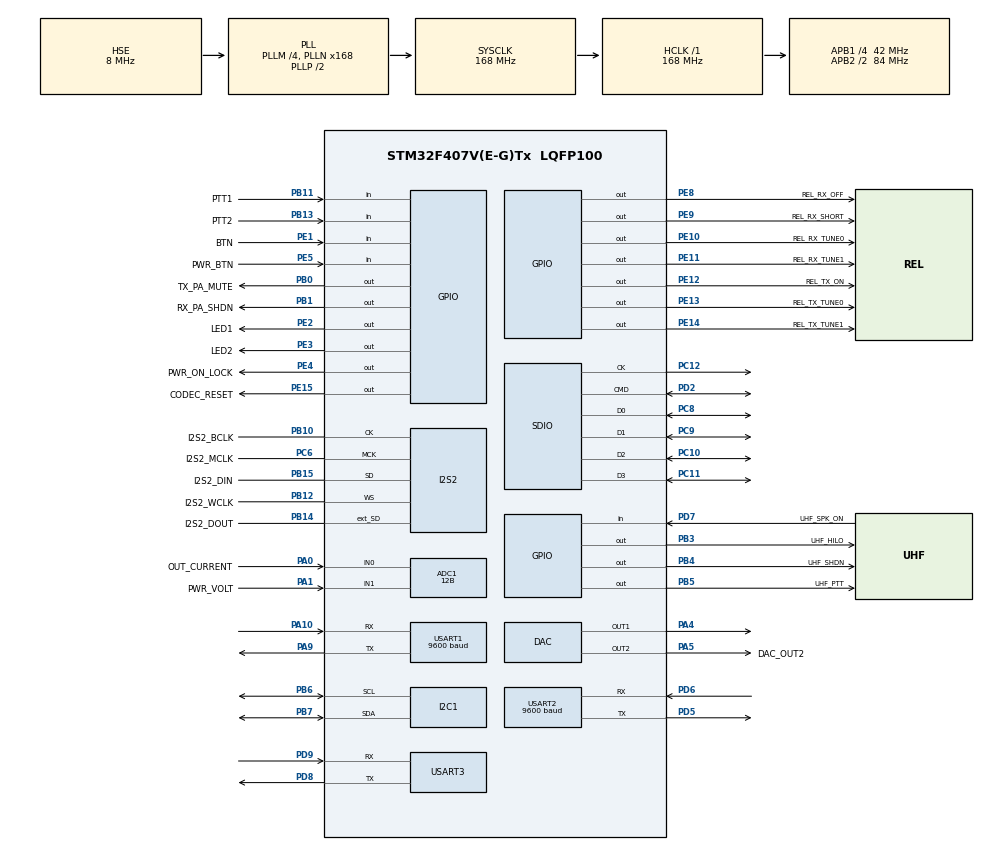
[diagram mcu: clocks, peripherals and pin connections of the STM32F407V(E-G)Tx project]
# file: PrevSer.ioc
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ADC1.Channel-0\#ChannelRegularConversion=ADC_CHANNEL_0
ADC1.Channel-1\#ChannelRegularConversion=ADC_CHANNEL_1
ADC1.Channel-2\#ChannelRegularConversion=ADC_CHANNEL_TEMPSENSOR
ADC1.Channel-3\#ChannelRegularConversion=ADC_CHANNEL_VREFINT
ADC1.Channel-4\#ChannelRegularConversion=ADC_CHANNEL_VBAT
ADC1.ClockPrescaler=ADC_CLOCK_SYNC_PCLK_DIV4
ADC1.ContinuousConvMode=DISABLE
ADC1.DMAContinuousRequests=ENABLE
ADC1.DataAlign=ADC_DATAALIGN_RIGHT
ADC1.DiscontinuousConvMode=ENABLE
ADC1.EOCSelection=ADC_EOC_SEQ_CONV
ADC1.EnableAnalogWatchDog=false
ADC1.ExternalTrigConv=ADC_SOFTWARE_START
ADC1.ExternalTrigConvEdge=ADC_EXTERNALTRIGCONVEDGE_NONE
ADC1.InjNumberOfConversion=0
ADC1.NbrOfConversion=5
ADC1.NbrOfConversionFlag=1
ADC1.NbrOfDiscConversion=5
ADC1.Rank-0\#ChannelRegularConversion=1
ADC1.Rank-1\#ChannelRegularConversion=2
ADC1.Rank-2\#ChannelRegularConversion=3
ADC1.Rank-3\#ChannelRegularConversion=4
ADC1.Rank-4\#ChannelRegularConversion=5
ADC1.Resolution=ADC_RESOLUTION_12B
ADC1.SamplingTime-0\#ChannelRegularConversion=ADC_SAMPLETIME_3CYCLES
ADC1.SamplingTime-1\#ChannelRegularConversion=ADC_SAMPLETIME_3CYCLES
ADC1.SamplingTime-2\#ChannelRegularConversion=ADC_SAMPLETIME_3CYCLES
ADC1.SamplingTime-3\#ChannelRegularConversion=ADC_SAMPLETIME_3CYCLES
ADC1.SamplingTime-4\#ChannelRegularConversion=ADC_SAMPLETIME_3CYCLES
ADC1.ScanConvMode=ENABLE
ADC1.master=1
Dma.ADC1.2.Direction=DMA_PERIPH_TO_MEMORY
Dma.ADC1.2.FIFOMode=DMA_FIFOMODE_DISABLE
Dma.ADC1.2.Instance=DMA2_Stream0
Dma.ADC1.2.MemDataAlignment=DMA_MDATAALIGN_HALFWORD
Dma.ADC1.2.MemInc=DMA_MINC_ENABLE
Dma.ADC1.2.Mode=DMA_NORMAL
Dma.ADC1.2.PeriphDataAlignment=DMA_PDATAALIGN_HALFWORD
Dma.ADC1.2.PeriphInc=DMA_PINC_DISABLE
Dma.ADC1.2.Priority=DMA_PRIORITY_HIGH
Dma.I2S2_EXT_RX.0.Direction=DMA_PERIPH_TO_MEMORY
Dma.I2S2_EXT_RX.0.FIFOMode=DMA_FIFOMODE_DISABLE
Dma.I2S2_EXT_RX.0.Instance=DMA1_Stream3
Dma.I2S2_EXT_RX.0.MemDataAlignment=DMA_MDATAALIGN_HALFWORD
Dma.I2S2_EXT_RX.0.MemInc=DMA_MINC_ENABLE
Dma.I2S2_EXT_RX.0.Mode=DMA_CIRCULAR
Dma.I2S2_EXT_RX.0.PeriphDataAlignment=DMA_PDATAALIGN_HALFWORD
Dma.I2S2_EXT_RX.0.PeriphInc=DMA_PINC_DISABLE
Dma.I2S2_EXT_RX.0.Priority=DMA_PRIORITY_HIGH
Dma.MEMTOMEM.6.Direction=DMA_MEMORY_TO_MEMORY
Dma.MEMTOMEM.6.FIFOMode=DMA_FIFOMODE_ENABLE
Dma.MEMTOMEM.6.FIFOThreshold=DMA_FIFO_THRESHOLD_FULL
Dma.MEMTOMEM.6.Instance=DMA2_Stream1
Dma.MEMTOMEM.6.MemBurst=DMA_MBURST_SINGLE
Dma.MEMTOMEM.6.MemDataAlignment=DMA_MDATAALIGN_WORD
Dma.MEMTOMEM.6.MemInc=DMA_MINC_ENABLE
Dma.MEMTOMEM.6.Mode=DMA_NORMAL
Dma.MEMTOMEM.6.PeriphBurst=DMA_PBURST_SINGLE
Dma.MEMTOMEM.6.PeriphDataAlignment=DMA_PDATAALIGN_WORD
Dma.MEMTOMEM.6.PeriphInc=DMA_PINC_ENABLE
Dma.MEMTOMEM.6.Priority=DMA_PRIORITY_LOW
Dma.MEMTOMEM.7.Direction=DMA_MEMORY_TO_MEMORY
Dma.MEMTOMEM.7.FIFOMode=DMA_FIFOMODE_ENABLE
Dma.MEMTOMEM.7.FIFOThreshold=DMA_FIFO_THRESHOLD_FULL
Dma.MEMTOMEM.7.Instance=DMA2_Stream2
Dma.MEMTOMEM.7.MemBurst=DMA_MBURST_SINGLE
Dma.MEMTOMEM.7.MemDataAlignment=DMA_MDATAALIGN_WORD
Dma.MEMTOMEM.7.MemInc=DMA_MINC_ENABLE
Dma.MEMTOMEM.7.Mode=DMA_NORMAL
Dma.MEMTOMEM.7.PeriphBurst=DMA_PBURST_SINGLE
Dma.MEMTOMEM.7.PeriphDataAlignment=DMA_PDATAALIGN_WORD
Dma.MEMTOMEM.7.PeriphInc=DMA_PINC_ENABLE
Dma.MEMTOMEM.7.Priority=DMA_PRIORITY_LOW
Dma.MEMTOMEM.8.Direction=DMA_MEMORY_TO_MEMORY
Dma.MEMTOMEM.8.FIFOMode=DMA_FIFOMODE_ENABLE
Dma.MEMTOMEM.8.FIFOThreshold=DMA_FIFO_THRESHOLD_FULL
Dma.MEMTOMEM.8.Instance=DMA2_Stream4
Dma.MEMTOMEM.8.MemBurst=DMA_MBURST_SINGLE
Dma.MEMTOMEM.8.MemDataAlignment=DMA_MDATAALIGN_WORD
Dma.MEMTOMEM.8.MemInc=DMA_MINC_ENABLE
Dma.MEMTOMEM.8.Mode=DMA_NORMAL
Dma.MEMTOMEM.8.PeriphBurst=DMA_PBURST_SINGLE
Dma.MEMTOMEM.8.PeriphDataAlignment=DMA_PDATAALIGN_WORD
Dma.MEMTOMEM.8.PeriphInc=DMA_PINC_ENABLE
Dma.MEMTOMEM.8.Priority=DMA_PRIORITY_LOW
Dma.Request0=I2S2_EXT_RX
Dma.Request1=SPI2_TX
Dma.Request2=ADC1
Dma.Request3=USART1_TX
Dma.Request4=SDIO_RX
Dma.Request5=SDIO_TX
Dma.Request6=MEMTOMEM
Dma.Request7=MEMTOMEM
Dma.Request8=MEMTOMEM
Dma.SDIO_RX.4.Direction=DMA_PERIPH_TO_MEMORY
Dma.SDIO_RX.4.FIFOMode=DMA_FIFOMODE_ENABLE
Dma.SDIO_RX.4.FIFOThreshold=DMA_FIFO_THRESHOLD_FULL
Dma.SDIO_RX.4.Instance=DMA2_Stream3
Dma.SDIO_RX.4.MemBurst=DMA_MBURST_INC4
Dma.SDIO_RX.4.MemDataAlignment=DMA_MDATAALIGN_WORD
Dma.SDIO_RX.4.MemInc=DMA_MINC_ENABLE
Dma.SDIO_RX.4.Mode=DMA_PFCTRL
Dma.SDIO_RX.4.PeriphBurst=DMA_PBURST_INC4
Dma.SDIO_RX.4.PeriphDataAlignment=DMA_PDATAALIGN_WORD
Dma.SDIO_RX.4.PeriphInc=DMA_PINC_DISABLE
Dma.SDIO_RX.4.Priority=DMA_PRIORITY_MEDIUM
Dma.SDIO_TX.5.Direction=DMA_MEMORY_TO_PERIPH
Dma.SDIO_TX.5.FIFOMode=DMA_FIFOMODE_ENABLE
Dma.SDIO_TX.5.FIFOThreshold=DMA_FIFO_THRESHOLD_FULL
Dma.SDIO_TX.5.Instance=DMA2_Stream6
Dma.SDIO_TX.5.MemBurst=DMA_MBURST_INC4
Dma.SDIO_TX.5.MemDataAlignment=DMA_MDATAALIGN_WORD
Dma.SDIO_TX.5.MemInc=DMA_MINC_ENABLE
Dma.SDIO_TX.5.Mode=DMA_PFCTRL
Dma.SDIO_TX.5.PeriphBurst=DMA_PBURST_INC4
Dma.SDIO_TX.5.PeriphDataAlignment=DMA_PDATAALIGN_WORD
Dma.SDIO_TX.5.PeriphInc=DMA_PINC_DISABLE
Dma.SDIO_TX.5.Priority=DMA_PRIORITY_MEDIUM
Dma.SPI2_TX.1.Direction=DMA_MEMORY_TO_PERIPH
Dma.SPI2_TX.1.FIFOMode=DMA_FIFOMODE_DISABLE
Dma.SPI2_TX.1.Instance=DMA1_Stream4
Dma.SPI2_TX.1.MemDataAlignment=DMA_MDATAALIGN_HALFWORD
Dma.SPI2_TX.1.MemInc=DMA_MINC_ENABLE
Dma.SPI2_TX.1.Mode=DMA_CIRCULAR
Dma.SPI2_TX.1.PeriphDataAlignment=DMA_PDATAALIGN_HALFWORD
Dma.SPI2_TX.1.PeriphInc=DMA_PINC_DISABLE
Dma.SPI2_TX.1.Priority=DMA_PRIORITY_HIGH
Dma.USART1_TX.3.Direction=DMA_MEMORY_TO_PERIPH
Dma.USART1_TX.3.FIFOMode=DMA_FIFOMODE_DISABLE
Dma.USART1_TX.3.Instance=DMA2_Stream7
Dma.USART1_TX.3.MemDataAlignment=DMA_MDATAALIGN_BYTE
Dma.USART1_TX.3.MemInc=DMA_MINC_ENABLE
Dma.USART1_TX.3.Mode=DMA_NORMAL
Dma.USART1_TX.3.PeriphDataAlignment=DMA_PDATAALIGN_BYTE
Dma.USART1_TX.3.PeriphInc=DMA_PINC_DISABLE
Dma.USART1_TX.3.Priority=DMA_PRIORITY_LOW
FATFS._MAX_SS=4096
FREERTOS.BinarySemaphores01=myBinSem_DMA_Ready,Dynamic,NULL
FREERTOS.Tasks01=defaultTask,0,2048,StartDefaultTask,Default,NULL,Dynamic,NULL,NULL;UHF_task,0,512,Start_UHF_task,Default,NULL,Dynamic,NULL,NULL;USB_task,0,512,Start_USB_task,Default,NULL,Dynamic,NULL,NULL;MainRadio_task,1,512,Start_MainRadio_task,Default,NULL,Dynamic,NULL,NULL
FREERTOS.configMINIMAL_STACK_SIZE=512
FREERTOS.configTICK_RATE_HZ=1000
FREERTOS.configTOTAL_HEAP_SIZE=41608
FREERTOS.configUSE_COUNTING_SEMAPHORES=1
I2S2.AudioFreq=I2S_AUDIOFREQ_48K
I2S2.ErrorAudioFreq=1.72 %
I2S2.FullDuplexMode=I2S_FULLDUPLEXMODE_ENABLE
I2S2.Instance=SPI$Index
I2S2.RealAudioFreq=48.828 KHz
I2S2.VirtualMode=I2S_MODE_MASTER
Mcu.Family=STM32F4
Mcu.Name=STM32F407V(E-G)Tx
Mcu.Package=LQFP100
NVIC.ADC_IRQn=true\:5\:0\:false\:false\:true\:true\:true
NVIC.DMA1_Stream3_IRQn=true\:5\:0\:false\:false\:true\:true\:false
NVIC.DMA1_Stream4_IRQn=true\:5\:0\:false\:false\:true\:true\:false
NVIC.DMA2_Stream0_IRQn=true\:5\:0\:false\:false\:true\:true\:false
NVIC.DMA2_Stream3_IRQn=true\:5\:0\:false\:false\:true\:true\:false
NVIC.DMA2_Stream6_IRQn=true\:5\:0\:false\:false\:true\:true\:false
NVIC.DMA2_Stream7_IRQn=true\:5\:0\:false\:false\:true\:true\:false
NVIC.PriorityGroup=NVIC_PRIORITYGROUP_4
NVIC.SDIO_IRQn=true\:5\:0\:false\:false\:true\:true\:true
NVIC.TIM2_IRQn=true\:0\:0\:false\:false\:true\:false\:false
NVIC.TimeBase=TIM2_IRQn
NVIC.TimeBaseIP=TIM2
NVIC.USART1_IRQn=true\:5\:0\:false\:false\:true\:true\:true
PA0-WKUP.GPIO_Label=OUT_CURRENT
PA0-WKUP.Signal=ADCx_IN0
PA1.GPIO_Label=PWR_VOLT
PA1.Signal=ADCx_IN1
PA10.Mode=Asynchronous
PA10.Signal=USART1_RX
PA13.Mode=Serial_Wire
PA13.Signal=SYS_JTMS-SWDIO
PA14.Mode=Serial_Wire
PA14.Signal=SYS_JTCK-SWCLK
PA4.Signal=COMP_DAC1_group
PA5.GPIO_Label=DAC_OUT2
PA5.Signal=COMP_DAC2_group
PA9.Mode=Asynchronous
PA9.Signal=USART1_TX
PB0.GPIO_Label=TX_PA_MUTE
PB0.Signal=GPIO_Output
PB1.GPIO_Label=RX_PA_SHDN
PB1.Signal=GPIO_Output
PB10.GPIO_Label=I2S2_BCLK
PB10.Mode=Full_Duplex_Master
PB10.Signal=I2S2_CK
PB11.GPIO_Label=PTT1
PB11.GPIO_PuPd=GPIO_PULLUP
PB11.Signal=GPIO_Input
PB12.GPIO_Label=I2S2_WCLK
PB12.Mode=Full_Duplex_Master
PB12.Signal=I2S2_WS
PB13.GPIO_Label=PTT2
PB13.Signal=GPIO_Input
PB14.GPIO_Label=I2S2_DOUT
PB14.Mode=Full_Duplex_Master
PB14.Signal=I2S2_ext_SD
PB15.GPIO_Label=I2S2_DIN
PB15.Mode=Full_Duplex_Master
PB15.Signal=I2S2_SD
PB3.GPIO_Label=UHF_HILO
PB3.Signal=GPIO_Output
PB4.GPIO_Label=UHF_SHDN
PB4.Signal=GPIO_Output
PB5.GPIO_Label=UHF_PTT
PB5.Signal=GPIO_Output
PB6.Mode=I2C
PB6.Signal=I2C1_SCL
PB7.Mode=I2C
PB7.Signal=I2C1_SDA
PC10.Mode=SD_4_bits_Wide_bus
PC10.Signal=SDIO_D2
PC11.Mode=SD_4_bits_Wide_bus
PC11.Signal=SDIO_D3
PC12.GPIO_PuPd=GPIO_NOPULL
PC12.Mode=SD_4_bits_Wide_bus
PC12.Signal=SDIO_CK
PC14-OSC32_IN.Mode=LSE-External-Oscillator
PC14-OSC32_IN.Signal=RCC_OSC32_IN
PC15-OSC32_OUT.Mode=LSE-External-Oscillator
PC15-OSC32_OUT.Signal=RCC_OSC32_OUT
PC6.GPIO_Label=I2S2_MCLK
PC6.Mode=Master_Clock_Activated
PC6.Signal=I2S2_MCK
PC8.GPIO_PuPd=GPIO_PULLUP
PC8.Mode=SD_4_bits_Wide_bus
PC8.Signal=SDIO_D0
PC9.Mode=SD_4_bits_Wide_bus
PC9.Signal=SDIO_D1
PD2.GPIO_PuPd=GPIO_PULLUP
PD2.Mode=SD_4_bits_Wide_bus
PD2.Signal=SDIO_CMD
PD5.Mode=Asynchronous
PD5.Signal=USART2_TX
PD6.Mode=Asynchronous
PD6.Signal=USART2_RX
PD7.GPIO_Label=UHF_SPK_ON
PD7.Signal=GPIO_Input
PD8.Mode=Asynchronous
PD8.Signal=USART3_TX
PD9.Mode=Asynchronous
PD9.Signal=USART3_RX
PE1.GPIO_Label=BTN
PE1.GPIO_PuPd=GPIO_PULLUP
PE1.Signal=GPIO_Input
PE10.GPIO_Label=REL_RX_TUNE0
PE10.Signal=GPIO_Output
PE11.GPIO_Label=REL_RX_TUNE1
PE11.Signal=GPIO_Output
PE12.GPIO_Label=REL_TX_ON
PE12.Signal=GPIO_Output
PE13.GPIO_Label=REL_TX_TUNE0
PE13.Signal=GPIO_Output
PE14.GPIO_Label=REL_TX_TUNE1
PE14.Signal=GPIO_Output
PE15.GPIO_Label=CODEC_RESET
PE15.Signal=GPIO_Output
PE2.GPIO_Label=LED1
PE2.Signal=GPIO_Output
PE3.GPIO_Label=LED2
PE3.Signal=GPIO_Output
PE4.GPIO_Label=PWR_ON_LOCK
PE4.Signal=GPIO_Output
PE5.GPIO_Label=PWR_BTN
PE5.Signal=GPIO_Input
PE8.GPIO_Label=REL_RX_OFF
PE8.Signal=GPIO_Output
PE9.GPIO_Label=REL_RX_SHORT
PE9.Signal=GPIO_Output
PH0-OSC_IN.Mode=HSE-External-Oscillator
PH0-OSC_IN.Signal=RCC_OSC_IN
PH1-OSC_OUT.Mode=HSE-External-Oscillator
PH1-OSC_OUT.Signal=RCC_OSC_OUT
ProjectManager.HeapSize=0x4000
ProjectManager.StackSize=0x800
ProjectManager.TargetToolchain=EWARM V7
RCC.48MHZClocksFreq_Value=48000000
RCC.AHBFreq_Value=168000000
RCC.APB1CLKDivider=RCC_HCLK_DIV4
RCC.APB1Freq_Value=42000000
RCC.APB1TimFreq_Value=84000000
RCC.APB2CLKDivider=RCC_HCLK_DIV2
RCC.APB2Freq_Value=84000000
RCC.APB2TimFreq_Value=168000000
RCC.CortexFreq_Value=168000000
RCC.HCLKFreq_Value=168000000
RCC.HSE_VALUE=8000000
RCC.HSI_VALUE=16000000
RCC.PLLI2SN=50
RCC.PLLM=4
RCC.PLLN=168
RCC.PLLQ=7
RCC.PLLSourceVirtual=RCC_PLLSOURCE_HSE
RCC.RCC_MCO2Source=RCC_MCO2SOURCE_PLLI2SCLK
RCC.RCC_MCODiv2=RCC_MCODIV_4
RCC.RCC_RTC_Clock_Source=RCC_RTCCLKSOURCE_LSE
RCC.RCC_RTC_Clock_SourceVirtual=RCC_RTCCLKSOURCE_LSE
RCC.SYSCLKFreq_VALUE=168000000
RCC.SYSCLKSource=RCC_SYSCLKSOURCE_PLLCLK
RCC.VCOOutputFreq_Value=336000000
RTC.Date=25
RTC.Month=RTC_MONTH_OCTOBER
RTC.Year=18
SDIO.ClockDiv=118
SH.ADCx_IN0.0=ADC1_IN0,IN0
SH.ADCx_IN1.0=ADC1_IN1,IN1
SH.COMP_DAC1_group.0=DAC_OUT1,DAC_OUT1
SH.COMP_DAC2_group.0=DAC_OUT2,DAC_OUT2
USART1.BaudRate=9600
USART1.VirtualMode=VM_ASYNC
USART2.BaudRate=9600
USART2.VirtualMode=VM_ASYNC
USART3.VirtualMode=VM_ASYNC
VP_ADC1_TempSens_Input.Mode=IN-TempSens
VP_ADC1_Vbat_Input.Mode=IN-Vbat
VP_ADC1_Vref_Input.Mode=IN-Vrefint
VP_FATFS_VS_SDIO.Mode=SDIO
VP_FREERTOS_VS_ENABLE.Mode=Enabled
VP_RTC_VS_RTC_Activate.Mode=RTC_Enabled
VP_RTC_VS_RTC_Calendar.Mode=RTC_Calendar
VP_SYS_VS_tim2.Mode=TIM2
VP_TIM7_VS_ClockSourceINT.Mode=Enable_Timer
board=PrevSer

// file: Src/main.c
/**
  ******************************************************************************
  * @file           : main.c
  * @brief          : Main program body
  ******************************************************************************
  * This notice applies to any and all portions of this file
  * that are not between comment pairs USER CODE BEGIN and
  * USER CODE END. Other portions of this file, whether
  * inserted by the user or by software development tools
  * are owned by their respective copyright owners.
  *
  * Copyright (c) 2019 STMicroelectronics International N.V.
  * All rights reserved.
  *
  * Redistribution and use in source and binary forms, with or without
  * modification, are permitted, provided that the following conditions are met:
  *
  * 1. Redistribution of source code must retain the above copyright notice,
  *    this list of conditions and the following disclaimer.
  * 2. Redistributions in binary form must reproduce the above copyright notice,
  *    this list of conditions and the following disclaimer in the documentation
  *    and/or other materials provided with the distribution.
  * 3. Neither the name of STMicroelectronics nor the names of other
  *    contributors to this software may be used to endorse or promote products
  *    derived from this software without specific written permission.
  * 4. This software, including modifications and/or derivative works of this
  *    software, must execute solely and exclusively on microcontroller or
  *    microprocessor devices manufactured by or for STMicroelectronics.
  * 5. Redistribution and use of this software other than as permitted under
  *    this license is void and will automatically terminate your rights under
  *    this license.
  *
  * THIS SOFTWARE IS PROVIDED BY STMICROELECTRONICS AND CONTRIBUTORS "AS IS"
  * AND ANY EXPRESS, IMPLIED OR STATUTORY WARRANTIES, INCLUDING, BUT NOT
  * LIMITED TO, THE IMPLIED WARRANTIES OF MERCHANTABILITY, FITNESS FOR A
  * PARTICULAR PURPOSE AND NON-INFRINGEMENT OF THIRD PARTY INTELLECTUAL PROPERTY
  * RIGHTS ARE DISCLAIMED TO THE FULLEST EXTENT PERMITTED BY LAW. IN NO EVENT
  * SHALL STMICROELECTRONICS OR CONTRIBUTORS BE LIABLE FOR ANY DIRECT, INDIRECT,
  * INCIDENTAL, SPECIAL, EXEMPLARY, OR CONSEQUENTIAL DAMAGES (INCLUDING, BUT NOT
  * LIMITED TO, PROCUREMENT OF SUBSTITUTE GOODS OR SERVICES; LOSS OF USE, DATA,
  * OR PROFITS; OR BUSINESS INTERRUPTION) HOWEVER CAUSED AND ON ANY THEORY OF
  * LIABILITY, WHETHER IN CONTRACT, STRICT LIABILITY, OR TORT (INCLUDING
  * NEGLIGENCE OR OTHERWISE) ARISING IN ANY WAY OUT OF THE USE OF THIS SOFTWARE,
  * EVEN IF ADVISED OF THE POSSIBILITY OF SUCH DAMAGE.
  *
  ******************************************************************************
  */
#include "main.h"
#include "stm32f4xx_hal.h"
#include "cmsis_os.h"
#include "fatfs.h"

/* USER CODE BEGIN Includes */
#include "core.h"
#include "codec.h"
#include "trx.h"
#include "com_control.h"
#include "string.h"
#include "time.h"
#include "squelch.h"

#define MACRO ARM_MATH_CM4
#define _FPU_PRESENT  1

/*
Это софт для предсерийного ПУПС на новой плате от 12.10.2018, начиная с версии 2Б.

Для того, что бы срабатывал колбэк для прерывания полного завершения передачи по ДМА
В файле stm32f4xx_hal_i2s_ex.c
В функции static void I2SEx_TxRxDMACplt(DMA_HandleTypeDef *hdma) добавить
вызов HAL_I2SEx_TxRxCpltCallback(hi2s);

при работе с АЦП2 ограничение сверху и снизу наступает при установке на генераторе:
Канал В, амплитуда 1,5в, смещение 830 мВ

Проблемы с sd картой решены по алгоритму из этой ссылки
https://community.st.com/thread/46310-solution-to-fix-stm32f4xxx-stmcubemx-firmware-v118-sdio-fatfs-dma-not-working-issue

===   Время   ===
Закомментировать в инициализации RTC блок "Initialize RTC and set the Time and Date", что бы каждый запуск время не стиралось

===   Запись на sd карту   ===
В инициализации SDIO делитель с 118 заменить на 30.

===   Попугай   ===
Уменьшен буфер записи для опытов с FFT

===   FFT   ===
Добавить в пути препроцессора такой путь к папке Lib
C:\Program Files (x86)\IAR Systems\Embedded Workbench 6.5\arm\CMSIS\Lib

*/

/* USER CODE END Includes */

ADC_HandleTypeDef hadc1;
DMA_HandleTypeDef hdma_adc1;

DAC_HandleTypeDef hdac;

I2C_HandleTypeDef hi2c1;

I2S_HandleTypeDef hi2s2;
DMA_HandleTypeDef hdma_i2s2_ext_rx;
DMA_HandleTypeDef hdma_spi2_tx;

RTC_HandleTypeDef hrtc;

SD_HandleTypeDef hsd;
DMA_HandleTypeDef hdma_sdio_rx;
DMA_HandleTypeDef hdma_sdio_tx;

TIM_HandleTypeDef htim7;

UART_HandleTypeDef huart1;
UART_HandleTypeDef huart2;
UART_HandleTypeDef huart3;
DMA_HandleTypeDef hdma_usart1_tx;

DMA_HandleTypeDef hdma_memtomem_dma2_stream1;
DMA_HandleTypeDef hdma_memtomem_dma2_stream2;
DMA_HandleTypeDef hdma_memtomem_dma2_stream4;
osThreadId defaultTaskHandle;
osThreadId UHF_taskHandle;
osThreadId USB_taskHandle;
osThreadId MainRadio_taskHandle;
osSemaphoreId myBinSem_DMA_ReadyHandle;

/* USER CODE BEGIN PV */
/* Private variables ---------------------------------------------------------*/
REG_t R;                                                                        // Реестр
UNIQUE_ID DevID;

/* USER CODE END PV */

void SystemClock_Config(void);
static void MX_GPIO_Init(void);
static void MX_DMA_Init(void);
static void MX_ADC1_Init(void);
static void MX_DAC_Init(void);
static void MX_I2C1_Init(void);
static void MX_I2S2_Init(void);
static void MX_RTC_Init(void);
static void MX_SDIO_SD_Init(void);
static void MX_USART1_UART_Init(void);
static void MX_TIM7_Init(void);
static void MX_USART3_UART_Init(void);
static void MX_USART2_UART_Init(void);
void StartDefaultTask(void const * argument);
void Start_UHF_task(void const * argument);
void Start_USB_task(void const * argument);
void Start_MainRadio_task(void const * argument);

/* USER CODE BEGIN PFP */
/* Private function prototypes -----------------------------------------------*/

/* USER CODE END PFP */

/* USER CODE BEGIN 0 */
//******************************************************************************
//   Мигание светодиода 1 с периодом в мс
//******************************************************************************
static void led1_blink (void);
/* USER CODE END PFP */

/* USER CODE BEGIN 0 */
static void led1_blink (void){                                          // Мигание светодиодом для теста работы

  __LED1_SW;
  R.UpTime++;

  HAL_RTC_GetDate(&hrtc, &(R.GDate), RTC_FORMAT_BIN);                           // Актуализируем дату/время
  osDelay(1);
  HAL_RTC_GetTime(&hrtc, &(R.GTime), RTC_FORMAT_BIN);
  osDelay(1);

//--- Тестовая отправка S метра в СОМ порт
  if ((R.TXRX_Mode == RX) && (R.RC.S_meterIntrval)) { S_meter_Send(); };

}

//******************************************************************************
//   Запись строки лога на флэшкарту с заданным периодом
//******************************************************************************
static void log_1s_write (void){

uint8_t Header[]="Dev ID \t Up Time \t RX Freq \t TX Freq \t RxTx Mode \t Rx Gain \t S uV \t S ADC \t TX Current \t Main PWR mV \t CPU temperature \r\n";

uint8_t Buf[256];
uint8_t Buf2[256];
UINT Bytes;
FRESULT res;

  HAL_GetUID((uint32_t*)&DevID);
  //printf("b0-15=%d, b16-32=%d, b32-64=%d, b64-96=%d\r\n", DevID.b15_0, DevID.b16_31, DevID.b32_63, DevID.b64_95);

  //----------------------------------------------------------------------------   Создать строку для записи
  if ((R.TXRX_Mode == TX) || (R.TXRX_Mode == TX_TONE_1kHz)){                    // Что бы в режиме передачи приемный уровень не смущал
      R.S_meter_mkv = 0;
      R.S_meter = 0;
  }

  sprintf(Buf,"%d%d \t %d.%02d.20%02d \t %d:%02d:%02d \t %d \t %d \t %d \t %d \t %d \t %d \t %d \t %d \t %d \t %d ",
          DevID.b15_0, DevID.b16_31,                                            // DevID
          R.GDate.Date,
          R.GDate.Month,
          R.GDate.Year,
          R.GTime.Hours,
          R.GTime.Minutes,
          R.GTime.Seconds,
          R.UpTime,                                                             // Up Time
          R.DDS_RX.Freq,                                                        // Частота приема
          R.DDS_TX.Freq,                                                        // Частота передачи
          R.TXRX_Mode,                                                          // RxTx Mode
          R.RX_gain,                                                            // Rx Gain
          R.S_meter_mkv,                                                        // S uV
          R.S_meter,                                                            // S ADC
          R.TX_current_Peack,                                                   // TX current
          R.PWR_main_mV,                                                        // Питание
          R.CPU_temperature                                                     // CPU temperature
          );

   R.TX_current_Peack = 0;                                                      // Сброс пикового детектора

   sprintf(Buf2,"*\t %d \t %d %d %d %d\t %d %d %d %d \t %d%%  \r\n",
          R.RXBW,
          R.Gain_MICPGAR,                                                       // Усиления кодека
          R.Gain_ADCR,
          R.Gain_DACR,
          R.Gain_HPR,
          R.Gain_MICPGAL,
          R.Gain_ADCL,
          R.Gain_DACL,
          R.Gain_HPL,
          R.TX_pwr                                                              // Мощность передачи
          );

            //printf(Buf);

    if(f_mount(&SDFatFS, SDPath, 1) == FR_OK){                                  //подключаем флешку

      R.WriteSD = 1;                                                            // Для вывода сообщения в статусе

      uint8_t path[12];
      sprintf(path, "log%2d%2d.txt", DevID.b15_0, DevID.b16_31);
      path[11] = '\0';

//      res = f_open (&SDFile, (char*)path, FA_READ);                             // Проверяем наличие созданного файла
//      if (res != FR_OK) {
//        res = f_open (&SDFile, (char*)path, FA_WRITE | FA_OPEN_APPEND);         // Если его нет - создаем файл со строкой заголовка столбцов
//        f_write(&SDFile, Header, strlen(Header), &Bytes);
//        printf ("res=%d\r\n", res);
//      }
//      res = f_close(&SDFile);

      res = f_open (&SDFile, (char*)path, FA_WRITE | FA_OPEN_APPEND);           // открываем файл для записи в конец файла или если его нет, то создаем
      res = f_write(&SDFile, Buf,  strlen(Buf),  &Bytes);                       // Записать строку лога в конец файла
      res = f_write(&SDFile, Buf2, strlen(Buf2), &Bytes);                       // Записать строку лога в конец файла
      if (R.NewNote){                                                           // Если есть новая заметка в буфере
        res = f_write(&SDFile, R.Note, (char)strlen(R.Note), &Bytes);           // Записать заметку
        R.NewNote = 0;                                                          // Очищаем флаг новой заметки
      };
      res = f_close(&SDFile);
    };

}

void InitWatchDog (void)
 {

    IWDG->KR = 0x5555;   //Открывем доступ к перезагрузке
    IWDG->PR = (IWDG_PR_PR_0 | IWDG_PR_PR_2);  //101: divider /128

    IWDG->KR = 0x5555;   //Открывем доступ к перезагрузке
    IWDG->RLR = 0xFFF;

    //Старт WatchDog
    IWDG->KR = 0x5555;   //Открывем доступ к перезагрузке
    IWDG->KR = 0xCCCC;   //Cтартуем
}

/* USER CODE END 0 */

int main(void)
{
  /* USER CODE BEGIN 1 */

                            //InitWatchDog();                                                               // Запуск WatchDog
  /* USER CODE END 1 */

  /* MCU Configuration----------------------------------------------------------*/

  /* Reset of all peripherals, Initializes the Flash interface and the Systick. */
  HAL_Init();

  /* Configure the system clock */
  SystemClock_Config();

  /* USER CODE BEGIN SysInit */
  HAL_Delay(350);
  /* USER CODE END SysInit */

  /* Initialize all configured peripherals */
  MX_GPIO_Init();
  MX_DMA_Init();
  MX_ADC1_Init();
  MX_DAC_Init();
  MX_I2C1_Init();
  MX_I2S2_Init();
  MX_RTC_Init();
  MX_SDIO_SD_Init();
  MX_USART1_UART_Init();
  MX_TIM7_Init();
  MX_USART3_UART_Init();
  MX_USART2_UART_Init();
  /* USER CODE BEGIN 2 */
  __PWR_ON_LOCK_ON;

//  R.Buf_LPF_8k_I[10] = 1;
//
//  uint32_t Src[10], Dst[10];
//  for (uint8_t i=0;i<10;i++){
//    Src[i]=0;
//    Dst[i]=0;
//  }
//
//  Src[5] = 255;
//
//  while(1){
//      __HAL_DMA_DISABLE(&hdma_memtomem_dma2_stream1);
//      HAL_DMA_Start(&hdma_memtomem_dma2_stream1, (uint32_t)Src+1, (uint32_t)Src, 9);
//
//      //HAL_Delay(100);
//      __no_operation();
//      __no_operation();
//      __no_operation();
//      __no_operation();
//
//  }

  RC_start_Init();                                                              // Инициализация переменных для дистанционного управления
  squelch_init(&R.RXSQL);                                                       // Инициализация коэффициентов шумоподавителя
  restore_settings();                                                           // Восстановление сохраненных настроек из батарейного домена

  /* USER CODE END 2 */

  /* Create the semaphores(s) */
  /* definition and creation of myBinSem_DMA_Ready */
  osSemaphoreDef(myBinSem_DMA_Ready);
  myBinSem_DMA_ReadyHandle = osSemaphoreCreate(osSemaphore(myBinSem_DMA_Ready), 1);

  /* Create the thread(s) */
  /* definition and creation of defaultTask */
  osThreadDef(defaultTask, StartDefaultTask, osPriorityNormal, 0, 2048);
  defaultTaskHandle = osThreadCreate(osThread(defaultTask), NULL);

  /* definition and creation of UHF_task */
  osThreadDef(UHF_task, Start_UHF_task, osPriorityNormal, 0, 512);
  UHF_taskHandle = osThreadCreate(osThread(UHF_task), NULL);

  /* definition and creation of USB_task */
  osThreadDef(USB_task, Start_USB_task, osPriorityNormal, 0, 512);
  USB_taskHandle = osThreadCreate(osThread(USB_task), NULL);

  /* definition and creation of MainRadio_task */
  osThreadDef(MainRadio_task, Start_MainRadio_task, osPriorityAboveNormal, 0, 512);
  MainRadio_taskHandle = osThreadCreate(osThread(MainRadio_task), NULL);

  /* Start scheduler */
  osKernelStart();

  /* We should never get here as control is now taken by the scheduler */

  /* Infinite loop */
  while (1)
  {

  }

}

void SystemClock_Config(void)
{

  RCC_OscInitTypeDef RCC_OscInitStruct;
  RCC_ClkInitTypeDef RCC_ClkInitStruct;
  RCC_PeriphCLKInitTypeDef PeriphClkInitStruct;

    /**Configure the main internal regulator output voltage
    */
  __HAL_RCC_PWR_CLK_ENABLE();

  __HAL_PWR_VOLTAGESCALING_CONFIG(PWR_REGULATOR_VOLTAGE_SCALE1);

    /**Initializes the CPU, AHB and APB busses clocks
    */
  RCC_OscInitStruct.OscillatorType = RCC_OSCILLATORTYPE_HSE|RCC_OSCILLATORTYPE_LSE;
  RCC_OscInitStruct.HSEState = RCC_HSE_ON;
  RCC_OscInitStruct.LSEState = RCC_LSE_ON;
  RCC_OscInitStruct.PLL.PLLState = RCC_PLL_ON;
  RCC_OscInitStruct.PLL.PLLSource = RCC_PLLSOURCE_HSE;
  RCC_OscInitStruct.PLL.PLLM = 4;
  RCC_OscInitStruct.PLL.PLLN = 168;
  RCC_OscInitStruct.PLL.PLLP = RCC_PLLP_DIV2;
  RCC_OscInitStruct.PLL.PLLQ = 7;
  if (HAL_RCC_OscConfig(&RCC_OscInitStruct) != HAL_OK)
  {
    _Error_Handler(__FILE__, __LINE__);
  }

    /**Initializes the CPU, AHB and APB busses clocks
    */
  RCC_ClkInitStruct.ClockType = RCC_CLOCKTYPE_HCLK|RCC_CLOCKTYPE_SYSCLK
                              |RCC_CLOCKTYPE_PCLK1|RCC_CLOCKTYPE_PCLK2;
  RCC_ClkInitStruct.SYSCLKSource = RCC_SYSCLKSOURCE_PLLCLK;
  RCC_ClkInitStruct.AHBCLKDivider = RCC_SYSCLK_DIV1;
  RCC_ClkInitStruct.APB1CLKDivider = RCC_HCLK_DIV4;
  RCC_ClkInitStruct.APB2CLKDivider = RCC_HCLK_DIV2;

  if (HAL_RCC_ClockConfig(&RCC_ClkInitStruct, FLASH_LATENCY_5) != HAL_OK)
  {
    _Error_Handler(__FILE__, __LINE__);
  }

  PeriphClkInitStruct.PeriphClockSelection = RCC_PERIPHCLK_I2S|RCC_PERIPHCLK_RTC;
  PeriphClkInitStruct.PLLI2S.PLLI2SN = 50;
  PeriphClkInitStruct.PLLI2S.PLLI2SR = 2;
  PeriphClkInitStruct.RTCClockSelection = RCC_RTCCLKSOURCE_LSE;
  if (HAL_RCCEx_PeriphCLKConfig(&PeriphClkInitStruct) != HAL_OK)
  {
    _Error_Handler(__FILE__, __LINE__);
  }

    /**Configure the Systick interrupt time
    */
  HAL_SYSTICK_Config(HAL_RCC_GetHCLKFreq()/1000);

    /**Configure the Systick
    */
  HAL_SYSTICK_CLKSourceConfig(SYSTICK_CLKSOURCE_HCLK);

  /* SysTick_IRQn interrupt configuration */
  HAL_NVIC_SetPriority(SysTick_IRQn, 15, 0);
}

/* ADC1 init function */
static void MX_ADC1_Init(void)
{

  ADC_ChannelConfTypeDef sConfig;

    /**Configure the global features of the ADC (Clock, Resolution, Data Alignment and number of conversion)
    */
  hadc1.Instance = ADC1;
  hadc1.Init.ClockPrescaler = ADC_CLOCK_SYNC_PCLK_DIV4;
  hadc1.Init.Resolution = ADC_RESOLUTION_12B;
  hadc1.Init.ScanConvMode = ENABLE;
  hadc1.Init.ContinuousConvMode = DISABLE;
  hadc1.Init.DiscontinuousConvMode = ENABLE;
  hadc1.Init.NbrOfDiscConversion = 5;
  hadc1.Init.ExternalTrigConvEdge = ADC_EXTERNALTRIGCONVEDGE_NONE;
  hadc1.Init.ExternalTrigConv = ADC_SOFTWARE_START;
  hadc1.Init.DataAlign = ADC_DATAALIGN_RIGHT;
  hadc1.Init.NbrOfConversion = 5;
  hadc1.Init.DMAContinuousRequests = ENABLE;
  hadc1.Init.EOCSelection = ADC_EOC_SEQ_CONV;
  if (HAL_ADC_Init(&hadc1) != HAL_OK)
  {
    _Error_Handler(__FILE__, __LINE__);
  }

    /**Configure for the selected ADC regular channel its corresponding rank in the sequencer and its sample time.
    */
  sConfig.Channel = ADC_CHANNEL_0;
  sConfig.Rank = 1;
  sConfig.SamplingTime = ADC_SAMPLETIME_3CYCLES;
  if (HAL_ADC_ConfigChannel(&hadc1, &sConfig) != HAL_OK)
  {
    _Error_Handler(__FILE__, __LINE__);
  }

    /**Configure for the selected ADC regular channel its corresponding rank in the sequencer and its sample time.
    */
  sConfig.Channel = ADC_CHANNEL_1;
  sConfig.Rank = 2;
  if (HAL_ADC_ConfigChannel(&hadc1, &sConfig) != HAL_OK)
  {
    _Error_Handler(__FILE__, __LINE__);
  }

    /**Configure for the selected ADC regular channel its corresponding rank in the sequencer and its sample time.
    */
  sConfig.Channel = ADC_CHANNEL_TEMPSENSOR;
  sConfig.Rank = 3;
  if (HAL_ADC_ConfigChannel(&hadc1, &sConfig) != HAL_OK)
  {
    _Error_Handler(__FILE__, __LINE__);
  }

    /**Configure for the selected ADC regular channel its corresponding rank in the sequencer and its sample time.
    */
  sConfig.Channel = ADC_CHANNEL_VREFINT;
  sConfig.Rank = 4;
  if (HAL_ADC_ConfigChannel(&hadc1, &sConfig) != HAL_OK)
  {
    _Error_Handler(__FILE__, __LINE__);
  }

    /**Configure for the selected ADC regular channel its corresponding rank in the sequencer and its sample time.
    */
  sConfig.Channel = ADC_CHANNEL_VBAT;
  sConfig.Rank = 5;
  if (HAL_ADC_ConfigChannel(&hadc1, &sConfig) != HAL_OK)
  {
    _Error_Handler(__FILE__, __LINE__);
  }

}

/* DAC init function */
static void MX_DAC_Init(void)
{

  DAC_ChannelConfTypeDef sConfig;

    /**DAC Initialization
    */
  hdac.Instance = DAC;
  if (HAL_DAC_Init(&hdac) != HAL_OK)
  {
    _Error_Handler(__FILE__, __LINE__);
  }

    /**DAC channel OUT1 config
    */
  sConfig.DAC_Trigger = DAC_TRIGGER_NONE;
  sConfig.DAC_OutputBuffer = DAC_OUTPUTBUFFER_ENABLE;
  if (HAL_DAC_ConfigChannel(&hdac, &sConfig, DAC_CHANNEL_1) != HAL_OK)
  {
    _Error_Handler(__FILE__, __LINE__);
  }

    /**DAC channel OUT2 config
    */
  if (HAL_DAC_ConfigChannel(&hdac, &sConfig, DAC_CHANNEL_2) != HAL_OK)
  {
    _Error_Handler(__FILE__, __LINE__);
  }

}

/* I2C1 init function */
static void MX_I2C1_Init(void)
{

  hi2c1.Instance = I2C1;
  hi2c1.Init.ClockSpeed = 100000;
  hi2c1.Init.DutyCycle = I2C_DUTYCYCLE_2;
  hi2c1.Init.OwnAddress1 = 0;
  hi2c1.Init.AddressingMode = I2C_ADDRESSINGMODE_7BIT;
  hi2c1.Init.DualAddressMode = I2C_DUALADDRESS_DISABLE;
  hi2c1.Init.OwnAddress2 = 0;
  hi2c1.Init.GeneralCallMode = I2C_GENERALCALL_DISABLE;
  hi2c1.Init.NoStretchMode = I2C_NOSTRETCH_DISABLE;
  if (HAL_I2C_Init(&hi2c1) != HAL_OK)
  {
    _Error_Handler(__FILE__, __LINE__);
  }

}

/* I2S2 init function */
static void MX_I2S2_Init(void)
{

  hi2s2.Instance = SPI2;
  hi2s2.Init.Mode = I2S_MODE_MASTER_TX;
  hi2s2.Init.Standard = I2S_STANDARD_PHILIPS;
  hi2s2.Init.DataFormat = I2S_DATAFORMAT_16B;
  hi2s2.Init.MCLKOutput = I2S_MCLKOUTPUT_ENABLE;
  hi2s2.Init.AudioFreq = I2S_AUDIOFREQ_48K;
  hi2s2.Init.CPOL = I2S_CPOL_LOW;
  hi2s2.Init.ClockSource = I2S_CLOCK_PLL;
  hi2s2.Init.FullDuplexMode = I2S_FULLDUPLEXMODE_ENABLE;
  if (HAL_I2S_Init(&hi2s2) != HAL_OK)
  {
    _Error_Handler(__FILE__, __LINE__);
  }

}

/* RTC init function */
static void MX_RTC_Init(void)
{

  RTC_TimeTypeDef sTime;
  RTC_DateTypeDef sDate;

    /**Initialize RTC Only
    */
  hrtc.Instance = RTC;
  hrtc.Init.HourFormat = RTC_HOURFORMAT_24;
  hrtc.Init.AsynchPrediv = 127;
  hrtc.Init.SynchPrediv = 255;
  hrtc.Init.OutPut = RTC_OUTPUT_DISABLE;
  hrtc.Init.OutPutPolarity = RTC_OUTPUT_POLARITY_HIGH;
  hrtc.Init.OutPutType = RTC_OUTPUT_TYPE_OPENDRAIN;
  if (HAL_RTC_Init(&hrtc) != HAL_OK)
  {
    _Error_Handler(__FILE__, __LINE__);
  }

//    /**Initialize RTC and set the Time and Date
//    */
//  sTime.Hours = 0x0;
//  sTime.Minutes = 0x0;
//  sTime.Seconds = 0x0;
//  sTime.DayLightSaving = RTC_DAYLIGHTSAVING_NONE;
//  sTime.StoreOperation = RTC_STOREOPERATION_RESET;
//  if (HAL_RTC_SetTime(&hrtc, &sTime, RTC_FORMAT_BCD) != HAL_OK)
//  {
//    _Error_Handler(__FILE__, __LINE__);
//  }
//
//  sDate.WeekDay = RTC_WEEKDAY_MONDAY;
//  sDate.Month = RTC_MONTH_OCTOBER;
//  sDate.Date = 0x25;
//  sDate.Year = 0x18;
//
//  if (HAL_RTC_SetDate(&hrtc, &sDate, RTC_FORMAT_BCD) != HAL_OK)
//  {
//    _Error_Handler(__FILE__, __LINE__);
//  }

}

/* SDIO init function */
static void MX_SDIO_SD_Init(void)
{

  hsd.Instance = SDIO;
  hsd.Init.ClockEdge = SDIO_CLOCK_EDGE_RISING;
  hsd.Init.ClockBypass = SDIO_CLOCK_BYPASS_DISABLE;
  hsd.Init.ClockPowerSave = SDIO_CLOCK_POWER_SAVE_DISABLE;
  hsd.Init.BusWide = SDIO_BUS_WIDE_1B;
  hsd.Init.HardwareFlowControl = SDIO_HARDWARE_FLOW_CONTROL_DISABLE;
  hsd.Init.ClockDiv = 118;

}

/* TIM7 init function */
static void MX_TIM7_Init(void)
{

  TIM_MasterConfigTypeDef sMasterConfig;

  htim7.Instance = TIM7;
  htim7.Init.Prescaler = 0;
  htim7.Init.CounterMode = TIM_COUNTERMODE_UP;
  htim7.Init.Period = 0;
  if (HAL_TIM_Base_Init(&htim7) != HAL_OK)
  {
    _Error_Handler(__FILE__, __LINE__);
  }

  sMasterConfig.MasterOutputTrigger = TIM_TRGO_RESET;
  sMasterConfig.MasterSlaveMode = TIM_MASTERSLAVEMODE_DISABLE;
  if (HAL_TIMEx_MasterConfigSynchronization(&htim7, &sMasterConfig) != HAL_OK)
  {
    _Error_Handler(__FILE__, __LINE__);
  }

}

/* USART1 init function */
static void MX_USART1_UART_Init(void)
{

  huart1.Instance = USART1;
  huart1.Init.BaudRate = 9600;
  huart1.Init.WordLength = UART_WORDLENGTH_8B;
  huart1.Init.StopBits = UART_STOPBITS_1;
  huart1.Init.Parity = UART_PARITY_NONE;
  huart1.Init.Mode = UART_MODE_TX_RX;
  huart1.Init.HwFlowCtl = UART_HWCONTROL_NONE;
  huart1.Init.OverSampling = UART_OVERSAMPLING_16;
  if (HAL_UART_Init(&huart1) != HAL_OK)
  {
    _Error_Handler(__FILE__, __LINE__);
  }

}

/* USART2 init function */
static void MX_USART2_UART_Init(void)
{

  huart2.Instance = USART2;
  huart2.Init.BaudRate = 9600;
  huart2.Init.WordLength = UART_WORDLENGTH_8B;
  huart2.Init.StopBits = UART_STOPBITS_1;
  huart2.Init.Parity = UART_PARITY_NONE;
  huart2.Init.Mode = UART_MODE_TX_RX;
  huart2.Init.HwFlowCtl = UART_HWCONTROL_NONE;
  huart2.Init.OverSampling = UART_OVERSAMPLING_16;
  if (HAL_UART_Init(&huart2) != HAL_OK)
  {
    _Error_Handler(__FILE__, __LINE__);
  }

}

/* USART3 init function */
static void MX_USART3_UART_Init(void)
{

  huart3.Instance = USART3;
  huart3.Init.BaudRate = 115200;
  huart3.Init.WordLength = UART_WORDLENGTH_8B;
  huart3.Init.StopBits = UART_STOPBITS_1;
  huart3.Init.Parity = UART_PARITY_NONE;
  huart3.Init.Mode = UART_MODE_TX_RX;
  huart3.Init.HwFlowCtl = UART_HWCONTROL_NONE;
  huart3.Init.OverSampling = UART_OVERSAMPLING_16;
  if (HAL_UART_Init(&huart3) != HAL_OK)
  {
    _Error_Handler(__FILE__, __LINE__);
  }

}

static void MX_DMA_Init(void)
{
  /* DMA controller clock enable */
  __HAL_RCC_DMA1_CLK_ENABLE();
  __HAL_RCC_DMA2_CLK_ENABLE();

  /* Configure DMA request hdma_memtomem_dma2_stream1 on DMA2_Stream1 */
  hdma_memtomem_dma2_stream1.Instance = DMA2_Stream1;
  hdma_memtomem_dma2_stream1.Init.Channel = DMA_CHANNEL_0;
  hdma_memtomem_dma2_stream1.Init.Direction = DMA_MEMORY_TO_MEMORY;
  hdma_memtomem_dma2_stream1.Init.PeriphInc = DMA_PINC_ENABLE;
  hdma_memtomem_dma2_stream1.Init.MemInc = DMA_MINC_ENABLE;
  hdma_memtomem_dma2_stream1.Init.PeriphDataAlignment = DMA_PDATAALIGN_WORD;
  hdma_memtomem_dma2_stream1.Init.MemDataAlignment = DMA_MDATAALIGN_WORD;
  hdma_memtomem_dma2_stream1.Init.Mode = DMA_NORMAL;
  hdma_memtomem_dma2_stream1.Init.Priority = DMA_PRIORITY_HIGH;
  hdma_memtomem_dma2_stream1.Init.FIFOMode = DMA_FIFOMODE_ENABLE;
  hdma_memtomem_dma2_stream1.Init.FIFOThreshold = DMA_FIFO_THRESHOLD_FULL;
  hdma_memtomem_dma2_stream1.Init.MemBurst = DMA_MBURST_SINGLE;
  hdma_memtomem_dma2_stream1.Init.PeriphBurst = DMA_PBURST_SINGLE;
  if (HAL_DMA_Init(&hdma_memtomem_dma2_stream1) != HAL_OK)
  {
    _Error_Handler(__FILE__, __LINE__);
  }

  /* Configure DMA request hdma_memtomem_dma2_stream2 on DMA2_Stream2 */
  hdma_memtomem_dma2_stream2.Instance = DMA2_Stream2;
  hdma_memtomem_dma2_stream2.Init.Channel = DMA_CHANNEL_0;
  hdma_memtomem_dma2_stream2.Init.Direction = DMA_MEMORY_TO_MEMORY;
  hdma_memtomem_dma2_stream2.Init.PeriphInc = DMA_PINC_ENABLE;
  hdma_memtomem_dma2_stream2.Init.MemInc = DMA_MINC_ENABLE;
  hdma_memtomem_dma2_stream2.Init.PeriphDataAlignment = DMA_PDATAALIGN_WORD;
  hdma_memtomem_dma2_stream2.Init.MemDataAlignment = DMA_MDATAALIGN_WORD;
  hdma_memtomem_dma2_stream2.Init.Mode = DMA_NORMAL;
  hdma_memtomem_dma2_stream2.Init.Priority = DMA_PRIORITY_HIGH;
  hdma_memtomem_dma2_stream2.Init.FIFOMode = DMA_FIFOMODE_ENABLE;
  hdma_memtomem_dma2_stream2.Init.FIFOThreshold = DMA_FIFO_THRESHOLD_FULL;
  hdma_memtomem_dma2_stream2.Init.MemBurst = DMA_MBURST_SINGLE;
  hdma_memtomem_dma2_stream2.Init.PeriphBurst = DMA_PBURST_SINGLE;
  if (HAL_DMA_Init(&hdma_memtomem_dma2_stream2) != HAL_OK)
  {
    _Error_Handler(__FILE__, __LINE__);
  }

  /* Configure DMA request hdma_memtomem_dma2_stream4 on DMA2_Stream4 */
  hdma_memtomem_dma2_stream4.Instance = DMA2_Stream4;
  hdma_memtomem_dma2_stream4.Init.Channel = DMA_CHANNEL_0;
  hdma_memtomem_dma2_stream4.Init.Direction = DMA_MEMORY_TO_MEMORY;
  hdma_memtomem_dma2_stream4.Init.PeriphInc = DMA_PINC_ENABLE;
  hdma_memtomem_dma2_stream4.Init.MemInc = DMA_MINC_ENABLE;
  hdma_memtomem_dma2_stream4.Init.PeriphDataAlignment = DMA_PDATAALIGN_WORD;
  hdma_memtomem_dma2_stream4.Init.MemDataAlignment = DMA_MDATAALIGN_WORD;
  hdma_memtomem_dma2_stream4.Init.Mode = DMA_NORMAL;
  hdma_memtomem_dma2_stream4.Init.Priority = DMA_PRIORITY_LOW;
  hdma_memtomem_dma2_stream4.Init.FIFOMode = DMA_FIFOMODE_ENABLE;
  hdma_memtomem_dma2_stream4.Init.FIFOThreshold = DMA_FIFO_THRESHOLD_FULL;
  hdma_memtomem_dma2_stream4.Init.MemBurst = DMA_MBURST_SINGLE;
  hdma_memtomem_dma2_stream4.Init.PeriphBurst = DMA_PBURST_SINGLE;
  if (HAL_DMA_Init(&hdma_memtomem_dma2_stream4) != HAL_OK)
  {
    _Error_Handler(__FILE__, __LINE__);
  }

  /* DMA interrupt init */
  /* DMA1_Stream3_IRQn interrupt configuration */
  HAL_NVIC_SetPriority(DMA1_Stream3_IRQn, 5, 0);
  HAL_NVIC_EnableIRQ(DMA1_Stream3_IRQn);
  /* DMA1_Stream4_IRQn interrupt configuration */
  HAL_NVIC_SetPriority(DMA1_Stream4_IRQn, 5, 0);
  HAL_NVIC_EnableIRQ(DMA1_Stream4_IRQn);
  /* DMA2_Stream0_IRQn interrupt configuration */
  HAL_NVIC_SetPriority(DMA2_Stream0_IRQn, 5, 0);
  HAL_NVIC_EnableIRQ(DMA2_Stream0_IRQn);
  /* DMA2_Stream3_IRQn interrupt configuration */
  HAL_NVIC_SetPriority(DMA2_Stream3_IRQn, 5, 0);
  HAL_NVIC_EnableIRQ(DMA2_Stream3_IRQn);
  /* DMA2_Stream6_IRQn interrupt configuration */
  HAL_NVIC_SetPriority(DMA2_Stream6_IRQn, 5, 0);
  HAL_NVIC_EnableIRQ(DMA2_Stream6_IRQn);
  /* DMA2_Stream7_IRQn interrupt configuration */
  HAL_NVIC_SetPriority(DMA2_Stream7_IRQn, 5, 0);
  HAL_NVIC_EnableIRQ(DMA2_Stream7_IRQn);

}

/** Configure pins as
        * Analog
        * Input
        * Output
        * EVENT_OUT
        * EXTI
*/
static void MX_GPIO_Init(void)
{

  GPIO_InitTypeDef GPIO_InitStruct;

  /* GPIO Ports Clock Enable */
  __HAL_RCC_GPIOE_CLK_ENABLE();
  __HAL_RCC_GPIOC_CLK_ENABLE();
  __HAL_RCC_GPIOH_CLK_ENABLE();
  __HAL_RCC_GPIOA_CLK_ENABLE();
  __HAL_RCC_GPIOB_CLK_ENABLE();
  __HAL_RCC_GPIOD_CLK_ENABLE();

  /*Configure GPIO pin Output Level */
  HAL_GPIO_WritePin(GPIOE, LED1_Pin|LED2_Pin|PWR_ON_LOCK_Pin|REL_RX_OFF_Pin
                          |REL_RX_SHORT_Pin|REL_RX_TUNE0_Pin|REL_RX_TUNE1_Pin|REL_TX_ON_Pin
                          |REL_TX_TUNE0_Pin|REL_TX_TUNE1_Pin|CODEC_RESET_Pin, GPIO_PIN_RESET);

  /*Configure GPIO pin Output Level */
  HAL_GPIO_WritePin(GPIOB, TX_PA_MUTE_Pin|RX_PA_SHDN_Pin|UHF_HILO_Pin|UHF_SHDN_Pin
                          |UHF_PTT_Pin, GPIO_PIN_RESET);

  /*Configure GPIO pins : LED1_Pin LED2_Pin PWR_ON_LOCK_Pin REL_RX_OFF_Pin
                           REL_RX_SHORT_Pin REL_RX_TUNE0_Pin REL_RX_TUNE1_Pin REL_TX_ON_Pin
                           REL_TX_TUNE0_Pin REL_TX_TUNE1_Pin CODEC_RESET_Pin */
  GPIO_InitStruct.Pin = LED1_Pin|LED2_Pin|PWR_ON_LOCK_Pin|REL_RX_OFF_Pin
                          |REL_RX_SHORT_Pin|REL_RX_TUNE0_Pin|REL_RX_TUNE1_Pin|REL_TX_ON_Pin
                          |REL_TX_TUNE0_Pin|REL_TX_TUNE1_Pin|CODEC_RESET_Pin;
  GPIO_InitStruct.Mode = GPIO_MODE_OUTPUT_PP;
  GPIO_InitStruct.Pull = GPIO_NOPULL;
  GPIO_InitStruct.Speed = GPIO_SPEED_FREQ_LOW;
  HAL_GPIO_Init(GPIOE, &GPIO_InitStruct);

  /*Configure GPIO pin : PWR_BTN_Pin */
  GPIO_InitStruct.Pin = PWR_BTN_Pin;
  GPIO_InitStruct.Mode = GPIO_MODE_INPUT;
  GPIO_InitStruct.Pull = GPIO_NOPULL;
  HAL_GPIO_Init(PWR_BTN_GPIO_Port, &GPIO_InitStruct);

  /*Configure GPIO pins : TX_PA_MUTE_Pin RX_PA_SHDN_Pin UHF_HILO_Pin UHF_SHDN_Pin
                           UHF_PTT_Pin */
  GPIO_InitStruct.Pin = TX_PA_MUTE_Pin|RX_PA_SHDN_Pin|UHF_HILO_Pin|UHF_SHDN_Pin
                          |UHF_PTT_Pin;
  GPIO_InitStruct.Mode = GPIO_MODE_OUTPUT_PP;
  GPIO_InitStruct.Pull = GPIO_NOPULL;
  GPIO_InitStruct.Speed = GPIO_SPEED_FREQ_LOW;
  HAL_GPIO_Init(GPIOB, &GPIO_InitStruct);

  /*Configure GPIO pin : PTT1_Pin */
  GPIO_InitStruct.Pin = PTT1_Pin;
  GPIO_InitStruct.Mode = GPIO_MODE_INPUT;
  GPIO_InitStruct.Pull = GPIO_PULLUP;
  HAL_GPIO_Init(PTT1_GPIO_Port, &GPIO_InitStruct);

  /*Configure GPIO pin : PTT2_Pin */
  GPIO_InitStruct.Pin = PTT2_Pin;
  GPIO_InitStruct.Mode = GPIO_MODE_INPUT;
  GPIO_InitStruct.Pull = GPIO_NOPULL;
  HAL_GPIO_Init(PTT2_GPIO_Port, &GPIO_InitStruct);

  /*Configure GPIO pin : UHF_SPK_ON_Pin */
  GPIO_InitStruct.Pin = UHF_SPK_ON_Pin;
  GPIO_InitStruct.Mode = GPIO_MODE_INPUT;
  GPIO_InitStruct.Pull = GPIO_NOPULL;
  HAL_GPIO_Init(UHF_SPK_ON_GPIO_Port, &GPIO_InitStruct);

  /*Configure GPIO pin : BTN_Pin */
  GPIO_InitStruct.Pin = BTN_Pin;
  GPIO_InitStruct.Mode = GPIO_MODE_INPUT;
  GPIO_InitStruct.Pull = GPIO_PULLUP;
  HAL_GPIO_Init(BTN_GPIO_Port, &GPIO_InitStruct);

}

void StartDefaultTask(void const * argument)
{
  /* init code for FATFS */
  MX_FATFS_Init();

  /* USER CODE BEGIN 5 */
  //BSP_SD_Init(); //!!!!!!!!!!!!!!!!!!!!!!!!! Вызывать перед MX_FATFS_Init();

 __LED1_OFF;
 __LED2_OFF;

 __HAL_UART_ENABLE_IT(&huart1, UART_IT_RXNE);                                   // Прерывание по приходу символа в UART

          //HAL_DAC_Start(&hdac, DAC_CHANNEL_1);
  CODEC_Init();                                                                 //Настройка кодека

  R.Modulation = SSB_USB;
  set_TXRX_mode (RX);

  //---   Запуск приемника   ---------------------------------------------------
      R.DDS_RX.Fdiskr = 48828;  // Магнитный канал
      //R.DDS_RX.Freq = 8000;

      R.DDS_GA.Fdiskr = 48828;  // Гидроакустический канал
      R.DDS_GA.Freq = 17000;

      HAL_I2SEx_TransmitReceive_DMA(&hi2s2, (uint16_t*)R.CodecTxData, (uint16_t*)R.CodecRxData, CODEC_BUF_SIZE);
      __HAL_DMA_DISABLE_IT(&hdma_spi2_tx, DMA_IT_TC);
      __HAL_DMA_DISABLE_IT(&hdma_spi2_tx, DMA_IT_HT);

      //set_RX_Gain_codec();
  //----------------------------------------------------------------------------

  //---   Запуск передатчика ---------------------------------------------------
      R.DDS_TX.Fdiskr = 48828UL;
      //R.DDS_TX.Freq = 8000;
      //set_TX_Gain_codec();

      /*
      В новом варианте не  требуется периферия контроллера.
      Возможно нужно будет сделать выход MUTE для управления усилителем.
      */
  //----------------------------------------------------------------------------

//---   Bluetooth INIT   -------------------------------------------------------
//  sprintf(R.TmpStr, "AT\r\n",DevID.b15_0, DevID.b16_31);
//  HAL_UART_Transmit(&huart1, (uint8_t*)R.TmpStr, strlen(R.TmpStr), 500);  osDelay(100);
//  osDelay(10);

  sprintf(R.TmpStr, "AT+ROLE0");
  HAL_UART_Transmit(&huart1, (uint8_t*)R.TmpStr, strlen(R.TmpStr), 500);  osDelay(100);
  osDelay(200);

  HAL_GetUID((uint32_t*)&DevID);
  sprintf(R.TmpStr, "AT+NAMEPUPS_%02d%02d",DevID.b15_0, DevID.b16_31);
  HAL_UART_Transmit(&huart1, (uint8_t*)R.TmpStr, strlen(R.TmpStr), 500);  osDelay(100);
  osDelay(500);

  sprintf(R.TmpStr, "AT+RESET");
  HAL_UART_Transmit(&huart1, (uint8_t*)R.TmpStr, strlen(R.TmpStr), 500);  osDelay(100);
  osDelay(10);

//---   Start DF pleer   -------------------------------------------------------

//  pleer_set_vol(30); osDelay(500);
//  pleer_play();      osDelay(500);
//  pleer_set_repit();

  //osDelay(1000);// Эта задержка в инициализации Bluetooth
  set_RX_Gain_codec();
  set_TX_Gain_codec();

  __PWR_ON_LOCK_ON;                                                             // Блокировка кнопки включения питания
  while (!HAL_GPIO_ReadPin(PWR_BTN_GPIO_Port, PWR_BTN_Pin));                    // Ожидаем отпускание кнопки
  R.PWR_State = 1;                                                              // Для обработки кнопки управления питанием

  /* Infinite loop */
  //----------------------------------------------------------------------------
  for(;;)
  {

    if (R.Tick_1s == 1){
      R.Tick_1s = 0;
      led1_blink();
      //if (R.FlashLogEn) log_1s_write();                                         // Запись текстового лога
      __LED2_OFF;
    }
    //if (R.FlashLogEn) record_audio_to_uSD();                                    // Запись аудио лога
  }

  //----------------------------------------------------------------------------
  /* USER CODE END 5 */
}

void Start_UHF_task(void const * argument)
{
  /* USER CODE BEGIN Start_UHF_task */
  /* Infinite loop */
  for(;;)
  {
    rxtx_switch();

    //USART1_read_command();                                                      // Если принята новая строка с командами

    uint8_t Scan = scan_button();
    load_gain_settings (Scan);

    adc1_scan();

    osDelay(1);
  }
  /* USER CODE END Start_UHF_task */
}

void Start_USB_task(void const * argument)
{
  /* USER CODE BEGIN Start_USB_task */
  /* Infinite loop */
  for(;;)
  {
    USART1_read_command();                                                      // Если принята новая строка с командами
  }
  /* USER CODE END Start_USB_task */
}

void Start_MainRadio_task(void const * argument)
{
  /* USER CODE BEGIN Start_MainRadio_task */
  /* Infinite loop */
  for(;;)
  {
      osSemaphoreWait(myBinSem_DMA_ReadyHandle , osWaitForever);
      main_radio();
  }
  /* USER CODE END Start_MainRadio_task */
}

void HAL_TIM_PeriodElapsedCallback(TIM_HandleTypeDef *htim)
{
  if (htim->Instance == TIM2) {
    HAL_IncTick();
  }
}

void _Error_Handler(char *file, int line)
{
  while(1)
  {
  }
}

/************************ (C) COPYRIGHT STMicroelectronics *****END OF FILE****/
